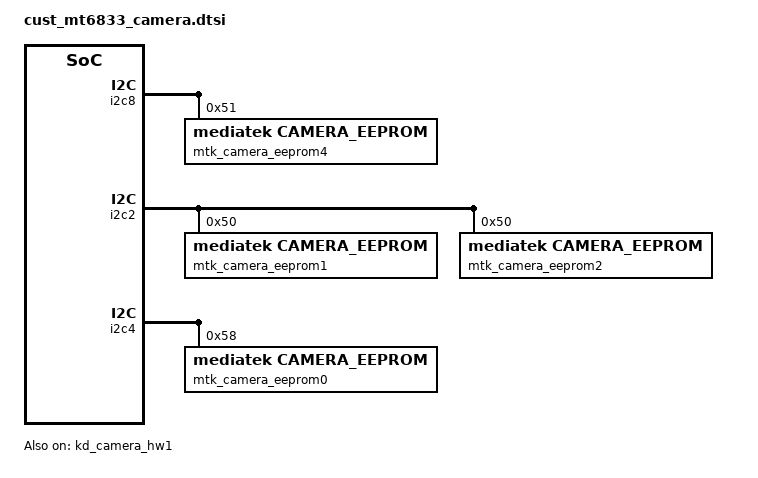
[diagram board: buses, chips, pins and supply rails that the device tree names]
/*
 * Copyright (c) 2019 MediaTek Inc.
 *
 * This program is free software; you can redistribute it and/or modify
 * it under the terms of the GNU General Public License version 2 as
 * published by the Free Software Foundation.
 *
 * This program is distributed in the hope that it will be useful,
 * but WITHOUT ANY WARRANTY; without even the implied warranty of
 * MERCHANTABILITY or FITNESS FOR A PARTICULAR PURPOSE.  See the
 * GNU General Public License for more details.
 */
 
/* prize modify by linchong 20210521 for camera gpio start */
/* CAMERA GPIO standardization */
&pio {
	camera_pins_cam0_rst_0: cam0@0 {
		pins_cmd_dat {
			pinmux = <PINMUX_GPIO56__FUNC_GPIO56>;
			slew-rate = <1>;
			output-low;
		};
	};
	camera_pins_cam0_rst_1: cam0@1 {
		pins_cmd_dat {
			pinmux = <PINMUX_GPIO56__FUNC_GPIO56>;
			slew-rate = <1>;
			output-high;
		};
	};

	camera_pins_cam1_rst_0: cam1@0 {
		pins_cmd_dat {
			pinmux = <PINMUX_GPIO54__FUNC_GPIO54>;
			slew-rate = <1>;
			output-low;
		};
	};
	camera_pins_cam1_rst_1: cam1@1 {
		pins_cmd_dat {
			pinmux = <PINMUX_GPIO54__FUNC_GPIO54>;
			slew-rate = <1>;
			output-high;
		};
	};

	camera_pins_cam2_rst_0: cam2@0 {
		pins_cmd_dat {
			pinmux = <PINMUX_GPIO60__FUNC_GPIO60>;
			slew-rate = <1>;
			output-low;
		};
	};
	camera_pins_cam2_rst_1: cam2@1 {
		pins_cmd_dat {
			pinmux = <PINMUX_GPIO60__FUNC_GPIO60>;
			slew-rate = <1>;
			output-high;
		};
	};

	camera_pins_cam4_rst_0: cam4@0 {
		pins_cmd_dat {
			pinmux = <PINMUX_GPIO91__FUNC_GPIO91>;
			slew-rate = <1>;
			output-low;
		};
	};
	camera_pins_cam4_rst_1: cam4@1 {
		pins_cmd_dat {
			pinmux = <PINMUX_GPIO91__FUNC_GPIO91>;
			slew-rate = <1>;
			output-high;
		};
	};

	camera_pins_cam0_vcamd_0: cam0@vcam0 {
		pins_cmd_dat {
			pinmux = <PINMUX_GPIO94__FUNC_GPIO94>;
			slew-rate = <1>;
			output-low;
		};
	};
	camera_pins_cam0_vcamd_1: cam0@vcam1 {
		pins_cmd_dat {
			pinmux = <PINMUX_GPIO94__FUNC_GPIO94>;
			slew-rate = <1>;
			output-high;
		};
	};
	camera_pins_cam0_vcama_0: cam0@vcam2 {
		pins_cmd_dat {
			pinmux = <PINMUX_GPIO93__FUNC_GPIO93>;
			slew-rate = <1>;
			output-low;
		};
	};
	camera_pins_cam0_vcama_1: cam0@vcam3 {
		pins_cmd_dat {
			pinmux = <PINMUX_GPIO93__FUNC_GPIO93>;
			slew-rate = <1>;
			output-high;
		};
	};

	camera_pins_cam1_vcamd_0: cam1@vcam0 {
		pins_cmd_dat {
			pinmux = <PINMUX_GPIO46__FUNC_GPIO46>;
			slew-rate = <1>;
			output-low;
		};
	};
	camera_pins_cam1_vcamd_1: cam1@vcam1 {
		pins_cmd_dat {
			pinmux = <PINMUX_GPIO46__FUNC_GPIO46>;
			slew-rate = <1>;
			output-high;
		};
	};
	camera_pins_cam1_vcama_0: cam1@vcam2 {
		pins_cmd_dat {
			pinmux = <PINMUX_GPIO47__FUNC_GPIO47>;
			slew-rate = <1>;
			output-low;
		};
	};
	camera_pins_cam1_vcama_1: cam1@vcam3 {
		pins_cmd_dat {
			pinmux = <PINMUX_GPIO47__FUNC_GPIO47>;
			slew-rate = <1>;
			output-high;
		};
	};
	camera_pins_cam2_vcamd_0: cam2@vcam0 {
		pins_cmd_dat {
			pinmux = <PINMUX_GPIO76__FUNC_GPIO76>;
			slew-rate = <1>;
			output-low;
		};
	};
	camera_pins_cam2_vcamd_1: cam2@vcam1 {
		pins_cmd_dat {
			pinmux = <PINMUX_GPIO76__FUNC_GPIO76>;
			slew-rate = <1>;
			output-high;
		};
	};
	camera_pins_cam2_vcama_0: cam2@vcam2 {
		pins_cmd_dat {
			pinmux = <PINMUX_GPIO132__FUNC_GPIO132>;
			slew-rate = <1>;
			output-low;
		};
	};
	camera_pins_cam2_vcama_1: cam2@vcam3 {
		pins_cmd_dat {
			pinmux = <PINMUX_GPIO132__FUNC_GPIO132>;
			slew-rate = <1>;
			output-high;
		};
	};
	camera_pins_cam4_vcamd_0: cam4@vcam0 {
		pins_cmd_dat {
			pinmux = <PINMUX_GPIO16__FUNC_GPIO16>;
			slew-rate = <1>;
			output-low;
		};
	};
	camera_pins_cam4_vcamd_1: cam4@vcam1 {
		pins_cmd_dat {
			pinmux = <PINMUX_GPIO16__FUNC_GPIO16>;
			slew-rate = <1>;
			output-high;
		};
	};
	camera_pins_cam4_vcama_0: cam4@vcam2 {
		pins_cmd_dat {
			pinmux = <PINMUX_GPIO132__FUNC_GPIO132>;
			slew-rate = <1>;
			output-low;
		};
	};
	camera_pins_cam4_vcama_1: cam4@vcam3 {
		pins_cmd_dat {
			pinmux = <PINMUX_GPIO132__FUNC_GPIO132>;
			slew-rate = <1>;
			output-high;
		};
	};
	camera_pins_cam0_mclk_off: camera_pins_cam0_mclk_off {
		pins_cmd_dat {
			pinmux = <PINMUX_GPIO50__FUNC_GPIO50>;
			drive-strength = <1>;
		};
	};
	camera_pins_cam0_mclk_2ma: camera_pins_cam0_mclk_2ma {
		pins_cmd_dat {
			pinmux = <PINMUX_GPIO50__FUNC_CMMCLK1>;
			drive-strength = <0>;
		};
	};
	camera_pins_cam0_mclk_4ma: camera_pins_cam0_mclk_4ma {
		pins_cmd_dat {
			pinmux = <PINMUX_GPIO50__FUNC_CMMCLK1>;
			drive-strength = <1>;
		};
	};
	camera_pins_cam0_mclk_6ma: camera_pins_cam0_mclk_6ma {
		pins_cmd_dat {
			pinmux = <PINMUX_GPIO50__FUNC_CMMCLK1>;
			drive-strength = <2>;
		};
	};
	camera_pins_cam0_mclk_8ma: camera_pins_cam0_mclk_8ma {
		pins_cmd_dat {
			pinmux = <PINMUX_GPIO50__FUNC_CMMCLK1>;
			drive-strength = <3>;
		};
	};
	camera_pins_cam1_mclk_off: camera_pins_cam1_mclk_off {
		pins_cmd_dat {
			pinmux = <PINMUX_GPIO49__FUNC_GPIO49>;
			drive-strength = <1>;
		};
	};
	camera_pins_cam1_mclk_2ma: camera_pins_cam1_mclk_2ma {
		pins_cmd_dat {
			pinmux = <PINMUX_GPIO49__FUNC_CMMCLK0>;
			drive-strength = <0>;
		};
	};
	camera_pins_cam1_mclk_4ma: camera_pins_cam1_mclk_4ma {
		pins_cmd_dat {
			pinmux = <PINMUX_GPIO49__FUNC_CMMCLK0>;
			drive-strength = <1>;
		};
	};
	camera_pins_cam1_mclk_6ma: camera_pins_cam1_mclk_6ma {
		pins_cmd_dat {
			pinmux = <PINMUX_GPIO49__FUNC_CMMCLK0>;
			drive-strength = <2>;
		};
	};
	camera_pins_cam1_mclk_8ma: camera_pins_cam1_mclk_8ma {
		pins_cmd_dat {
			pinmux = <PINMUX_GPIO49__FUNC_CMMCLK0>;
			drive-strength = <3>;
		};
	};
	camera_pins_cam2_mclk_off: camera_pins_cam2_mclk_off {
		pins_cmd_dat {
			pinmux = <PINMUX_GPIO52__FUNC_GPIO52>;
			drive-strength = <1>;
		};
	};
	camera_pins_cam2_mclk_2ma: camera_pins_cam2_mclk_2ma {
		pins_cmd_dat {
			pinmux = <PINMUX_GPIO52__FUNC_CMMCLK3>;
			drive-strength = <0>;
		};
	};
	camera_pins_cam2_mclk_4ma: camera_pins_cam2_mclk_4ma {
		pins_cmd_dat {
			pinmux = <PINMUX_GPIO52__FUNC_CMMCLK3>;
			drive-strength = <1>;
		};
	};
	camera_pins_cam2_mclk_6ma: camera_pins_cam2_mclk_6ma {
		pins_cmd_dat {
			pinmux = <PINMUX_GPIO52__FUNC_CMMCLK3>;
			drive-strength = <2>;
		};
	};
	camera_pins_cam2_mclk_8ma: camera_pins_cam2_mclk_8ma {
		pins_cmd_dat {
			pinmux = <PINMUX_GPIO52__FUNC_CMMCLK3>;
			drive-strength = <3>;
		};
	};
	//prize modify by yantaotao for camera start
	camera_pins_cam4_mclk_off: camera_pins_cam4_mclk_off {
		pins_cmd_dat {
			pinmux = <PINMUX_GPIO51__FUNC_GPIO51>;
			drive-strength = <1>;
		};
	};
	camera_pins_cam4_mclk_2ma: camera_pins_cam4_mclk_2ma {
		pins_cmd_dat {
			pinmux = <PINMUX_GPIO51__FUNC_CMMCLK2>;
			drive-strength = <0>;
		};
	};
	camera_pins_cam4_mclk_4ma: camera_pins_cam4_mclk_4ma {
		pins_cmd_dat {
			pinmux = <PINMUX_GPIO51__FUNC_CMMCLK2>;
			drive-strength = <1>;
		};
	};
	camera_pins_cam4_mclk_6ma: camera_pins_cam4_mclk_6ma {
		pins_cmd_dat {
			pinmux = <PINMUX_GPIO51__FUNC_CMMCLK2>;
			drive-strength = <2>;
		};
	};
	camera_pins_cam4_mclk_8ma: camera_pins_cam4_mclk_8ma {
		pins_cmd_dat {
			pinmux = <PINMUX_GPIO51__FUNC_CMMCLK2>;
			drive-strength = <3>;
		};
	};
	//prize modify by yantaotao for camera end
	camera_pins_cam_mipi_switch_en_1: mipi_en@1 {
		pins_cmd_dat {
			pinmux = <PINMUX_GPIO131__FUNC_GPIO131>;
			slew-rate = <1>;
			output-high;
		};
	};
	camera_pins_cam_mipi_switch_en_0: mipi_en@0 {
		pins_cmd_dat {
			pinmux = <PINMUX_GPIO131__FUNC_GPIO131>;
			slew-rate = <1>;
			output-low;
		};
	};
	camera_pins_cam_mipi_switch_sel_1: mipi_sel@1 {
		pins_cmd_dat {
			pinmux = <PINMUX_GPIO140__FUNC_GPIO140>;
			slew-rate = <1>;
			output-high;
		};
	};
	camera_pins_cam_mipi_switch_sel_0: mipi_sel@0 {
		pins_cmd_dat {
			pinmux = <PINMUX_GPIO140__FUNC_GPIO140>;
			slew-rate = <1>;
			output-low;
		};
	};
	//prize modify by yantaotao for camera start
	camera_pins_cam_mipi_switch2_en_1: mipi_en2@1 {
		pins_cmd_dat {
			pinmux = <PINMUX_GPIO129__FUNC_GPIO129>;
			slew-rate = <1>;
			output-high;
		};
	};
	camera_pins_cam_mipi_switch2_en_0: mipi_en2@0 {
		pins_cmd_dat {
			pinmux = <PINMUX_GPIO129__FUNC_GPIO129>;
			slew-rate = <1>;
			output-low;
		};
	};
	camera_pins_cam_mipi_switch2_sel_1: mipi_sel2@1 {
		pins_cmd_dat {
			pinmux = <PINMUX_GPIO130__FUNC_GPIO130>;
			slew-rate = <1>;
			output-high;
		};
	};
	camera_pins_cam_mipi_switch2_sel_0: mipi_sel2@0 {
		pins_cmd_dat {
			pinmux = <PINMUX_GPIO130__FUNC_GPIO130>;
			slew-rate = <1>;
			output-low;
		};
	};

	camera_pins_cam3_pdn_0: cam3@0 {
		pins_cmd_dat {
			pinmux = <PINMUX_GPIO57__FUNC_GPIO57>;
			slew-rate = <1>;
			output-low;
		};
	};
	camera_pins_cam3_pdn_1: cam3@1 {
		pins_cmd_dat {
			pinmux = <PINMUX_GPIO57__FUNC_GPIO57>;
			slew-rate = <1>;
			output-high;
		};
	};
	camera_pins_cam3_rst_0: cam3@2 {
		pins_cmd_dat {
			pinmux = <PINMUX_GPIO58__FUNC_GPIO58>;
			slew-rate = <1>;
			output-low;
		};
	};
	camera_pins_cam3_rst_1: cam3@3 {
		pins_cmd_dat {
			pinmux = <PINMUX_GPIO58__FUNC_GPIO58>;
			slew-rate = <1>;
			output-high;
		};
	};
	
	camera_pins_cam3_vcamd_0: cam3@vcam0 {
		pins_cmd_dat {
			pinmux = <PINMUX_GPIO16__FUNC_GPIO16>;
			slew-rate = <1>;
			output-low;
		};
	};
	camera_pins_cam3_vcamd_1: cam3@vcam1 {
		pins_cmd_dat {
			pinmux = <PINMUX_GPIO16__FUNC_GPIO16>;
			slew-rate = <1>;
			output-high;
		};
	};
	camera_pins_cam3_vcama_0: cam3@vcam2 {
		pins_cmd_dat {
			pinmux = <PINMUX_GPIO17__FUNC_GPIO17>;
			slew-rate = <1>;
			output-low;
		};
	};
	camera_pins_cam3_vcama_1: cam3@vcam3 {
		pins_cmd_dat {
			pinmux = <PINMUX_GPIO17__FUNC_GPIO17>;
			slew-rate = <1>;
			output-high;
		};
	};
	
	camera_pins_cam3_mclk_off: camera_pins_cam3_mclk_off {
		pins_cmd_dat {
			pinmux = <PINMUX_GPIO51__FUNC_GPIO51>;
			drive-strength = <1>;
		};
	};
	camera_pins_cam3_mclk_2ma: camera_pins_cam3_mclk_2ma {
		pins_cmd_dat {
			pinmux = <PINMUX_GPIO51__FUNC_CMMCLK2>;
			drive-strength = <0>;
		};
	};
	camera_pins_cam3_mclk_4ma: camera_pins_cam3_mclk_4ma {
		pins_cmd_dat {
			pinmux = <PINMUX_GPIO51__FUNC_CMMCLK2>;
			drive-strength = <1>;
		};
	};
	camera_pins_cam3_mclk_6ma: camera_pins_cam3_mclk_6ma {
		pins_cmd_dat {
			pinmux = <PINMUX_GPIO51__FUNC_CMMCLK2>;
			drive-strength = <2>;
		};
	};
	camera_pins_cam3_mclk_8ma: camera_pins_cam3_mclk_8ma {
		pins_cmd_dat {
			pinmux = <PINMUX_GPIO51__FUNC_CMMCLK2>;
			drive-strength = <3>;
		};
	};
	
	camera_pins_cam0_vcamaf_0: cam0@vcam4 {
		pins_cmd_dat {
			pinmux = <PINMUX_GPIO45__FUNC_GPIO45>;
			slew-rate = <1>;
			output-low;
		};
	};
	camera_pins_cam0_vcamaf_1: cam0@vcam5 {
		pins_cmd_dat {
			pinmux = <PINMUX_GPIO45__FUNC_GPIO45>;
			slew-rate = <1>;
			output-high;
		};
	};
	
	camera_pins_cam5_mclk_off: camera_pins_cam5_mclk_off {
		pins_cmd_dat {
			pinmux = <PINMUX_GPIO52__FUNC_GPIO52>;
			drive-strength = <1>;
		};
	};
	camera_pins_cam5_mclk_2ma: camera_pins_cam5_mclk_2ma {
		pins_cmd_dat {
			pinmux = <PINMUX_GPIO52__FUNC_CMMCLK3>;
			drive-strength = <0>;
		};
	};
	camera_pins_cam5_mclk_4ma: camera_pins_cam5_mclk_4ma {
		pins_cmd_dat {
			pinmux = <PINMUX_GPIO52__FUNC_CMMCLK3>;
			drive-strength = <1>;
		};
	};
	camera_pins_cam5_mclk_6ma: camera_pins_cam5_mclk_6ma {
		pins_cmd_dat {
			pinmux = <PINMUX_GPIO52__FUNC_CMMCLK3>;
			drive-strength = <2>;
		};
	};
	camera_pins_cam5_mclk_8ma: camera_pins_cam5_mclk_8ma {
		pins_cmd_dat {
			pinmux = <PINMUX_GPIO52__FUNC_CMMCLK3>;
			drive-strength = <3>;
		};
	};
	camera_pins_default: camdefault {
	};
};
&kd_camera_hw1 {
	pinctrl-names = "default",
			"cam0_rst0", "cam0_rst1",
			"cam1_rst0", "cam1_rst1",
			"cam2_rst0", "cam2_rst1",
			"cam4_rst0", "cam4_rst1",
			"cam0_ldo_vcamd_0", "cam0_ldo_vcamd_1",
			"cam0_ldo_vcama_0", "cam0_ldo_vcama_1",
			"cam1_ldo_vcamd_0", "cam1_ldo_vcamd_1",
			"cam1_ldo_vcama_0", "cam1_ldo_vcama_1",
			"cam2_ldo_vcamd_0", "cam2_ldo_vcamd_1",
			"cam2_ldo_vcama_0", "cam2_ldo_vcama_1",
			"cam4_ldo_vcamd_0", "cam4_ldo_vcamd_1",
			"cam4_ldo_vcama_0", "cam4_ldo_vcama_1",
			"cam0_mclk_off",
			"cam0_mclk_2mA", "cam0_mclk_4mA",
			"cam0_mclk_6mA", "cam0_mclk_8mA",
			"cam1_mclk_off",
			"cam1_mclk_2mA", "cam1_mclk_4mA",
			"cam1_mclk_6mA", "cam1_mclk_8mA",
			"cam2_mclk_off",
			"cam2_mclk_2mA", "cam2_mclk_4mA",
			"cam2_mclk_6mA", "cam2_mclk_8mA",
			"cam4_mclk_off",
			"cam4_mclk_2mA", "cam4_mclk_4mA",
			"cam4_mclk_6mA", "cam4_mclk_8mA",
			"cam_mipi_switch_en_1", "cam_mipi_switch_en_0",
			"cam_mipi_switch_sel_1", "cam_mipi_switch_sel_0",
			"cam_mipi_switch2_en_1", "cam_mipi_switch2_en_0",
			"cam_mipi_switch2_sel_1", "cam_mipi_switch2_sel_0",
			"cam3_pnd0", "cam3_pnd1",
			"cam3_rst0", "cam3_rst1",
			"cam3_ldo_vcamd_0", "cam3_ldo_vcamd_1",
			"cam3_ldo_vcama_0", "cam3_ldo_vcama_1",
			"cam3_mclk_off",
			"cam3_mclk_2mA", "cam3_mclk_4mA",
			"cam3_mclk_6mA", "cam3_mclk_8mA",
			"cam0_ldo_vcamaf_0", "cam0_ldo_vcamaf_1",
			"cam5_mclk_off",
			"cam5_mclk_2mA", "cam5_mclk_4mA",
			"cam5_mclk_6mA", "cam5_mclk_8mA";
	pinctrl-0 = <&camera_pins_default>;
	pinctrl-1 = <&camera_pins_cam0_rst_0>;
	pinctrl-2 = <&camera_pins_cam0_rst_1>;
	pinctrl-3 = <&camera_pins_cam1_rst_0>;
	pinctrl-4 = <&camera_pins_cam1_rst_1>;
	pinctrl-5 = <&camera_pins_cam2_rst_0>;
	pinctrl-6 = <&camera_pins_cam2_rst_1>;
	pinctrl-7 = <&camera_pins_cam4_rst_0>;
	pinctrl-8 = <&camera_pins_cam4_rst_1>;
	pinctrl-9 = <&camera_pins_cam0_vcamd_0>;
	pinctrl-10 = <&camera_pins_cam0_vcamd_1>;
	pinctrl-11 = <&camera_pins_cam0_vcama_0>;
	pinctrl-12 = <&camera_pins_cam0_vcama_1>;
	pinctrl-13 = <&camera_pins_cam1_vcamd_0>;
	pinctrl-14 = <&camera_pins_cam1_vcamd_1>;
	pinctrl-15 = <&camera_pins_cam1_vcama_0>;
	pinctrl-16 = <&camera_pins_cam1_vcama_1>;
	pinctrl-17 = <&camera_pins_cam2_vcamd_0>;
	pinctrl-18 = <&camera_pins_cam2_vcamd_1>;
	pinctrl-19 = <&camera_pins_cam2_vcama_0>;
	pinctrl-20 = <&camera_pins_cam2_vcama_1>;
	pinctrl-21 = <&camera_pins_cam4_vcamd_0>;
	pinctrl-22 = <&camera_pins_cam4_vcamd_1>;
	pinctrl-23 = <&camera_pins_cam4_vcama_0>;
	pinctrl-24 = <&camera_pins_cam4_vcama_1>;
	pinctrl-25 = <&camera_pins_cam0_mclk_off>;
	pinctrl-26 = <&camera_pins_cam0_mclk_2ma>;
	pinctrl-27 = <&camera_pins_cam0_mclk_4ma>;
	pinctrl-28 = <&camera_pins_cam0_mclk_6ma>;
	pinctrl-29 = <&camera_pins_cam0_mclk_8ma>;
	pinctrl-30 = <&camera_pins_cam1_mclk_off>;
	pinctrl-31 = <&camera_pins_cam1_mclk_2ma>;
	pinctrl-32 = <&camera_pins_cam1_mclk_4ma>;
	pinctrl-33 = <&camera_pins_cam1_mclk_6ma>;
	pinctrl-34 = <&camera_pins_cam1_mclk_8ma>;
	pinctrl-35 = <&camera_pins_cam2_mclk_off>;
	pinctrl-36 = <&camera_pins_cam2_mclk_2ma>;
	pinctrl-37 = <&camera_pins_cam2_mclk_4ma>;
	pinctrl-38 = <&camera_pins_cam2_mclk_6ma>;
	pinctrl-39 = <&camera_pins_cam2_mclk_8ma>;
	pinctrl-40 = <&camera_pins_cam4_mclk_off>;
	pinctrl-41 = <&camera_pins_cam4_mclk_2ma>;
	pinctrl-42 = <&camera_pins_cam4_mclk_4ma>;
	pinctrl-43 = <&camera_pins_cam4_mclk_6ma>;
	pinctrl-44 = <&camera_pins_cam4_mclk_8ma>;
	pinctrl-45 = <&camera_pins_cam_mipi_switch_en_1>;
	pinctrl-46 = <&camera_pins_cam_mipi_switch_en_0>;
	pinctrl-47 = <&camera_pins_cam_mipi_switch_sel_1>;
	pinctrl-48 = <&camera_pins_cam_mipi_switch_sel_0>;
	pinctrl-49 = <&camera_pins_cam_mipi_switch2_en_1>;
	pinctrl-50 = <&camera_pins_cam_mipi_switch2_en_0>;
	pinctrl-51 = <&camera_pins_cam_mipi_switch2_sel_1>;
	pinctrl-52 = <&camera_pins_cam_mipi_switch2_sel_0>;

	pinctrl-53 = <&camera_pins_cam3_pdn_0>;
	pinctrl-54 = <&camera_pins_cam3_pdn_1>;
	pinctrl-55 = <&camera_pins_cam3_rst_0>;
	pinctrl-56 = <&camera_pins_cam3_rst_1>;
	pinctrl-57 = <&camera_pins_cam3_vcamd_0>;
	pinctrl-58 = <&camera_pins_cam3_vcamd_1>;
	pinctrl-59 = <&camera_pins_cam3_vcama_0>;
	pinctrl-60 = <&camera_pins_cam3_vcama_1>;
	pinctrl-61 = <&camera_pins_cam3_mclk_off>;
	pinctrl-62 = <&camera_pins_cam3_mclk_2ma>;
	pinctrl-63 = <&camera_pins_cam3_mclk_4ma>;
	pinctrl-64 = <&camera_pins_cam3_mclk_6ma>;
	pinctrl-65 = <&camera_pins_cam3_mclk_8ma>;
	pinctrl-66 = <&camera_pins_cam0_vcamaf_0>;
	pinctrl-67 = <&camera_pins_cam0_vcamaf_1>;
	pinctrl-68 = <&camera_pins_cam5_mclk_off>;
	pinctrl-69 = <&camera_pins_cam5_mclk_2ma>;
	pinctrl-70 = <&camera_pins_cam5_mclk_4ma>;
	pinctrl-71 = <&camera_pins_cam5_mclk_6ma>;
	pinctrl-72 = <&camera_pins_cam5_mclk_8ma>;
	cam0_vcamio-supply = <&mt_pmic_vcamio_ldo_reg>;
	cam1_vcamio-supply = <&mt_pmic_vcamio_ldo_reg>;
	cam2_vcamio-supply = <&mt_pmic_vcamio_ldo_reg>;
	cam4_vcamio-supply = <&mt_pmic_vcamio_ldo_reg>;
	
	cam3_vcamio-supply = <&mt_pmic_vcamio_ldo_reg>;
	cam5_vcamio-supply = <&mt_pmic_vcamio_ldo_reg>;

	status = "okay";
};
/* CAMERA GPIO end */

/* prize modify by linchong 20210521 for camera gpio end */
//prize modify by yantaotao for camera end

/* prize modify by zhuzhengjiang 20210623 for camera otp start */
/* CAMERA EEPROM */
&i2c8 {
	mtk_camera_eeprom4:camera_eeprom4@51 {
		compatible = "mediatek,camera_eeprom";
		reg = <0x51>;
		status = "okay";
	};
};
&i2c2 {
	mtk_camera_eeprom1:camera_eeprom1@50 {
		compatible = "mediatek,camera_eeprom";
		reg = <0x50>;
		status = "okay";
	};
	mtk_camera_eeprom2:camera_eeprom2@50 {
		compatible = "mediatek,camera_eeprom";
		reg = <0x50>;
		status = "okay";
	};
};
&i2c4 {
	mtk_camera_eeprom0:camera_eeprom0@58 {
		compatible = "mediatek,camera_eeprom";
		reg = <0x58>;
		status = "okay";
	};
};
/* prize modify by zhuzhengjiang 20210623 for camera otp end */
/* CAMERA EEPROM end */
